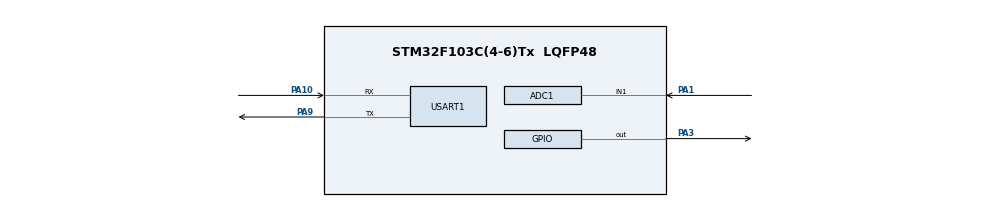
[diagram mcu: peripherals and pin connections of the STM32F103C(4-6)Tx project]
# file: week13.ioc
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ADC1.Channel-1\#ChannelRegularConversion=ADC_CHANNEL_1
ADC1.ContinuousConvMode=ENABLE
ADC1.NbrOfConversionFlag=1
ADC1.Rank-1\#ChannelRegularConversion=1
ADC1.SamplingTime-1\#ChannelRegularConversion=ADC_SAMPLETIME_1CYCLE_5
ADC1.master=1
Dma.ADC1.1.Direction=DMA_PERIPH_TO_MEMORY
Dma.ADC1.1.Instance=DMA1_Channel1
Dma.ADC1.1.MemDataAlignment=DMA_MDATAALIGN_HALFWORD
Dma.ADC1.1.MemInc=DMA_MINC_ENABLE
Dma.ADC1.1.Mode=DMA_CIRCULAR
Dma.ADC1.1.PeriphDataAlignment=DMA_PDATAALIGN_HALFWORD
Dma.ADC1.1.PeriphInc=DMA_PINC_DISABLE
Dma.ADC1.1.Priority=DMA_PRIORITY_LOW
Dma.Request0=USART1_TX
Dma.Request1=ADC1
Dma.USART1_TX.0.Direction=DMA_MEMORY_TO_PERIPH
Dma.USART1_TX.0.Instance=DMA1_Channel4
Dma.USART1_TX.0.MemDataAlignment=DMA_MDATAALIGN_BYTE
Dma.USART1_TX.0.MemInc=DMA_MINC_ENABLE
Dma.USART1_TX.0.Mode=DMA_NORMAL
Dma.USART1_TX.0.PeriphDataAlignment=DMA_PDATAALIGN_BYTE
Dma.USART1_TX.0.PeriphInc=DMA_PINC_DISABLE
Dma.USART1_TX.0.Priority=DMA_PRIORITY_LOW
Mcu.Family=STM32F1
Mcu.Name=STM32F103C(4-6)Tx
Mcu.Package=LQFP48
NVIC.ADC1_2_IRQn=true\:0\:0\:false\:false\:true\:true\:true\:true
NVIC.DMA1_Channel1_IRQn=true\:0\:0\:false\:false\:true\:false\:true\:true
NVIC.DMA1_Channel4_IRQn=true\:0\:0\:false\:false\:true\:false\:true\:true
NVIC.PriorityGroup=NVIC_PRIORITYGROUP_4
NVIC.TIM2_IRQn=true\:0\:0\:false\:false\:true\:true\:true\:true
NVIC.USART1_IRQn=true\:0\:0\:false\:false\:true\:true\:true\:true
PA1.Signal=ADCx_IN1
PA10.Mode=Asynchronous
PA10.Signal=USART1_RX
PA3.Signal=GPIO_Output
PA9.Mode=Asynchronous
PA9.Signal=USART1_TX
ProjectManager.HeapSize=0x200
ProjectManager.StackSize=0x400
ProjectManager.TargetToolchain=MDK-ARM V5.32
RCC.APB1Freq_Value=8000000
RCC.APB2Freq_Value=8000000
SH.ADCx_IN1.0=ADC1_IN1,IN1
TIM2.Period=63999
TIM2.Prescaler=124
USART1.VirtualMode=VM_ASYNC
VP_SYS_VS_ND.Mode=No_Debug
VP_TIM2_VS_ClockSourceINT.Mode=Internal
board=custom

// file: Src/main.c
/* USER CODE BEGIN Header */
/**
  ******************************************************************************
  * @file           : main.c
  * @brief          : Main program body
  ******************************************************************************
  * @attention
  *
  * Copyright (c) 2023 STMicroelectronics.
  * All rights reserved.
  *
  * This software is licensed under terms that can be found in the LICENSE file
  * in the root directory of this software component.
  * If no LICENSE file comes with this software, it is provided AS-IS.
  *
  ******************************************************************************
  */
/* USER CODE END Header */
#include "main.h"

/* USER CODE BEGIN Includes */
#include <stdio.h>
#include <string.h>

/* USER CODE END Includes */

ADC_HandleTypeDef hadc1;
DMA_HandleTypeDef hdma_adc1;

TIM_HandleTypeDef htim2;

UART_HandleTypeDef huart1;
DMA_HandleTypeDef hdma_usart1_tx;

void SystemClock_Config(void);
static void MX_GPIO_Init(void);
static void MX_DMA_Init(void);
static void MX_USART1_UART_Init(void);
static void MX_TIM2_Init(void);
static void MX_ADC1_Init(void);

/* USER CODE BEGIN 0 */

uint32_t adc_val;
uint8_t message[80] = "Hello World\r\n";

void HAL_TIM_PeriodElapsedCallback(TIM_HandleTypeDef *htim) {
	if (htim-> Instance == htim2.Instance){
	HAL_ADC_Start_DMA(&hadc1, (uint32_t *)adc_val, 1);
	} // tim2 ise (bunu birden fazla timer oldugunda hangisi için ne yapilacagini belirlerken kullan)
	//HAL_ADC_Start_DMA(&hadc1, (uint32_t *)adc_val, 1);
	//HAL_GPIO_TogglePin(GPIOA, GPIO_PIN_3);
}
void HAL_UART_TxCpltCallback(UART_HandleTypeDef *huart)
{
  __HAL_UART_CLEAR_OREFLAG(huart);
}
void HAL_ADC_ConvCpltCallback(ADC_HandleTypeDef *hadc) {
	float voltage =(float)adc_val * 3.3 / 4095.0;
		if(voltage > 2.5){
			HAL_GPIO_TogglePin(GPIOA, GPIO_PIN_3);

		//sprintf((char*)message, "Adc value is: %d\r\n", adc_val);
		//HAL_UART_Transmit(&huart1, (uint8_t*)message, strlen((char*)message), 100);
		//__HAL_UART_CLEAR_OREFLAG(&huart1);
		//HAL_UART_Transmit_DMA(&huart1, (uint8_t*)message, strlen((char*)message));
	}
}

/* USER CODE END 0 */

int main(void)
{

  /* MCU Configuration--------------------------------------------------------*/

  /* Reset of all peripherals, Initializes the Flash interface and the Systick. */
  HAL_Init();

  /* Configure the system clock */
  SystemClock_Config();

  /* Initialize all configured peripherals */
  MX_GPIO_Init();
  MX_DMA_Init();
  MX_USART1_UART_Init();
  MX_TIM2_Init();
  MX_ADC1_Init();
  /* USER CODE BEGIN 2 */
	HAL_TIM_Base_Start_IT(&htim2);

  /* USER CODE END 2 */

  /* Infinite loop */
  /* USER CODE BEGIN WHILE */
  while (1)
  {

		HAL_UART_Transmit_DMA(&huart1, (uint8_t*)message, strlen((char*)message));
		HAL_Delay(1000);
    /* USER CODE END WHILE */

  }
}

void SystemClock_Config(void)
{
  RCC_OscInitTypeDef RCC_OscInitStruct = {0};
  RCC_ClkInitTypeDef RCC_ClkInitStruct = {0};
  RCC_PeriphCLKInitTypeDef PeriphClkInit = {0};

  /** Initializes the RCC Oscillators according to the specified parameters
  * in the RCC_OscInitTypeDef structure.
  */
  RCC_OscInitStruct.OscillatorType = RCC_OSCILLATORTYPE_HSI;
  RCC_OscInitStruct.HSIState = RCC_HSI_ON;
  RCC_OscInitStruct.HSICalibrationValue = RCC_HSICALIBRATION_DEFAULT;
  RCC_OscInitStruct.PLL.PLLState = RCC_PLL_NONE;
  if (HAL_RCC_OscConfig(&RCC_OscInitStruct) != HAL_OK)
  {
    Error_Handler();
  }

  /** Initializes the CPU, AHB and APB buses clocks
  */
  RCC_ClkInitStruct.ClockType = RCC_CLOCKTYPE_HCLK|RCC_CLOCKTYPE_SYSCLK
                              |RCC_CLOCKTYPE_PCLK1|RCC_CLOCKTYPE_PCLK2;
  RCC_ClkInitStruct.SYSCLKSource = RCC_SYSCLKSOURCE_HSI;
  RCC_ClkInitStruct.AHBCLKDivider = RCC_SYSCLK_DIV1;
  RCC_ClkInitStruct.APB1CLKDivider = RCC_HCLK_DIV1;
  RCC_ClkInitStruct.APB2CLKDivider = RCC_HCLK_DIV1;

  if (HAL_RCC_ClockConfig(&RCC_ClkInitStruct, FLASH_LATENCY_0) != HAL_OK)
  {
    Error_Handler();
  }
  PeriphClkInit.PeriphClockSelection = RCC_PERIPHCLK_ADC;
  PeriphClkInit.AdcClockSelection = RCC_ADCPCLK2_DIV2;
  if (HAL_RCCEx_PeriphCLKConfig(&PeriphClkInit) != HAL_OK)
  {
    Error_Handler();
  }
}

static void MX_ADC1_Init(void)
{

  ADC_ChannelConfTypeDef sConfig = {0};

  /** Common config
  */
  hadc1.Instance = ADC1;
  hadc1.Init.ScanConvMode = ADC_SCAN_DISABLE;
  hadc1.Init.ContinuousConvMode = ENABLE;
  hadc1.Init.DiscontinuousConvMode = DISABLE;
  hadc1.Init.ExternalTrigConv = ADC_SOFTWARE_START;
  hadc1.Init.DataAlign = ADC_DATAALIGN_RIGHT;
  hadc1.Init.NbrOfConversion = 1;
  if (HAL_ADC_Init(&hadc1) != HAL_OK)
  {
    Error_Handler();
  }

  /** Configure Regular Channel
  */
  sConfig.Channel = ADC_CHANNEL_1;
  sConfig.Rank = ADC_REGULAR_RANK_1;
  sConfig.SamplingTime = ADC_SAMPLETIME_1CYCLE_5;
  if (HAL_ADC_ConfigChannel(&hadc1, &sConfig) != HAL_OK)
  {
    Error_Handler();
  }

}

static void MX_TIM2_Init(void)
{

  TIM_ClockConfigTypeDef sClockSourceConfig = {0};
  TIM_MasterConfigTypeDef sMasterConfig = {0};

  htim2.Instance = TIM2;
  htim2.Init.Prescaler = 124;
  htim2.Init.CounterMode = TIM_COUNTERMODE_UP;
  htim2.Init.Period = 63999;
  htim2.Init.ClockDivision = TIM_CLOCKDIVISION_DIV1;
  htim2.Init.AutoReloadPreload = TIM_AUTORELOAD_PRELOAD_DISABLE;
  if (HAL_TIM_Base_Init(&htim2) != HAL_OK)
  {
    Error_Handler();
  }
  sClockSourceConfig.ClockSource = TIM_CLOCKSOURCE_INTERNAL;
  if (HAL_TIM_ConfigClockSource(&htim2, &sClockSourceConfig) != HAL_OK)
  {
    Error_Handler();
  }
  sMasterConfig.MasterOutputTrigger = TIM_TRGO_RESET;
  sMasterConfig.MasterSlaveMode = TIM_MASTERSLAVEMODE_DISABLE;
  if (HAL_TIMEx_MasterConfigSynchronization(&htim2, &sMasterConfig) != HAL_OK)
  {
    Error_Handler();
  }

}

static void MX_USART1_UART_Init(void)
{

  huart1.Instance = USART1;
  huart1.Init.BaudRate = 9600;
  huart1.Init.WordLength = UART_WORDLENGTH_8B;
  huart1.Init.StopBits = UART_STOPBITS_1;
  huart1.Init.Parity = UART_PARITY_NONE;
  huart1.Init.Mode = UART_MODE_TX_RX;
  huart1.Init.HwFlowCtl = UART_HWCONTROL_NONE;
  huart1.Init.OverSampling = UART_OVERSAMPLING_16;
  if (HAL_UART_Init(&huart1) != HAL_OK)
  {
    Error_Handler();
  }

}

static void MX_DMA_Init(void)
{

  /* DMA controller clock enable */
  __HAL_RCC_DMA1_CLK_ENABLE();

  /* DMA interrupt init */
  /* DMA1_Channel1_IRQn interrupt configuration */
  HAL_NVIC_SetPriority(DMA1_Channel1_IRQn, 0, 0);
  HAL_NVIC_EnableIRQ(DMA1_Channel1_IRQn);
  /* DMA1_Channel4_IRQn interrupt configuration */
  HAL_NVIC_SetPriority(DMA1_Channel4_IRQn, 0, 0);
  HAL_NVIC_EnableIRQ(DMA1_Channel4_IRQn);

}

static void MX_GPIO_Init(void)
{
  GPIO_InitTypeDef GPIO_InitStruct = {0};

  /* GPIO Ports Clock Enable */
  __HAL_RCC_GPIOA_CLK_ENABLE();

  /*Configure GPIO pin Output Level */
  HAL_GPIO_WritePin(GPIOA, GPIO_PIN_3, GPIO_PIN_RESET);

  /*Configure GPIO pin : PA3 */
  GPIO_InitStruct.Pin = GPIO_PIN_3;
  GPIO_InitStruct.Mode = GPIO_MODE_OUTPUT_PP;
  GPIO_InitStruct.Pull = GPIO_NOPULL;
  GPIO_InitStruct.Speed = GPIO_SPEED_FREQ_LOW;
  HAL_GPIO_Init(GPIOA, &GPIO_InitStruct);

}

void Error_Handler(void)
{
  __disable_irq();
  while (1)
  {
  }
}
